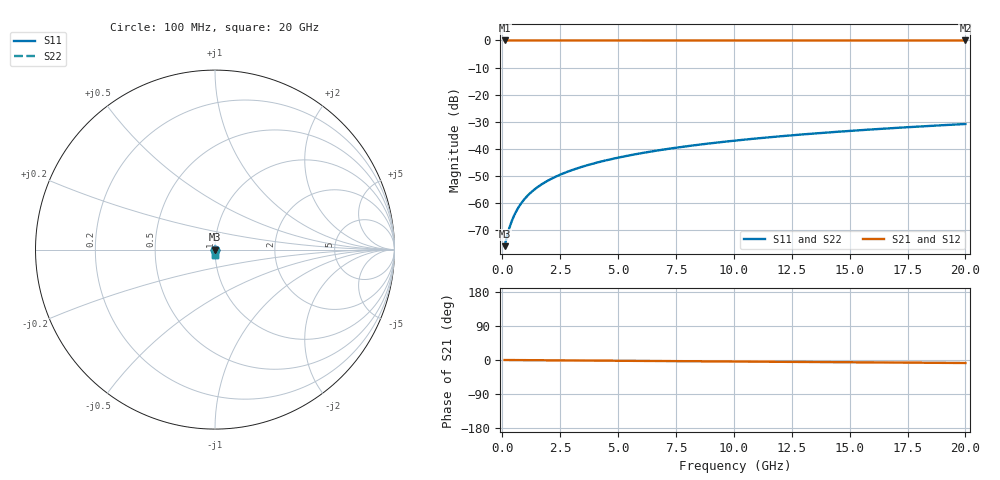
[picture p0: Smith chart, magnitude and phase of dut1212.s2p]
! Touchstone file exported from HFSS 2026.1.0
!  File:  C:/ffzhzh/LocalFiles/Ansys_Project_Files/temp_train_TSV_1212_1783192870_55132.aedt
!  Generated:  03:22:31 AM Jul  5, 2026
!  Design:  TSV
!  Project:  temp_train_TSV_1212_1783192870_55132
! Variables:
!  h_bsmrdl = 2um
!  h_ox = 20um
!  h_rdl = 5um
!  h_sub = 80.72um
!  h_tmrdl = 5um
!  h_tsv = 80.72um
!  h_via = 3um
!  l_bsmrdl = 300um
!  l_sub = 420.62um
!  l_tmrdl = 200um
!  m_sub = 200um
!  pitch = 34.11um
!  r_tsv = 10.31um
!  s_tmrdl = 10um
!  w_bsmrdl = 18um
!  w_sub = 500um
!  w_tmrdl = 12um
!  x_tsv_center1 = 206um
!  x_tsv_center2 = 524um
!  x_tsv_center3 = 736um
!  x_tsv_center4 = 1054um
!  x_tsv_center5 = 1266um
!  x_tsv_center6 = 1584um
# GHz S MA R 50.000000
! Terminal data exported
! Port[1] = TSV1_1_T1
! Port[2] = TSV1_1_T2
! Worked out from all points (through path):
!   200 points, 100 MHz to 20 GHz, reference 50 ohm
!   highest |S21| = 0.00 dB at 100 MHz (marker M1); lowest = 0.0 dB at 20 GHz (marker M2)
!   group delay of S21, straight-line fit = 1.1 ps
!   lowest |S11| = -75.9 dB at 100 MHz (marker M3), VSWR 1.00, Z = 50 - j0.0096 ohm
!   |S11| at or under -10 dB: start of sweep to end of sweep
!   |S22| runs from -75.9 to -30.8 dB; largest |S21 - S12| = 3.5e-15
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0.1  0.00016 -36.8  0.9999 -0.0  0.9999 -0.0  0.00016 -36.8
! Gamma 0 0 0 0
! Port Impedance 50 0 50 0
0.2  0.0002417 -54.0  0.9999 -0.1  0.9999 -0.1  0.0002417 -54.0
0.3  0.0003425 -61.6  0.9998 -0.1  0.9998 -0.1  0.0003425 -61.6
0.4  0.0004547 -65.6  0.9998 -0.2  0.9998 -0.2  0.0004547 -65.6
0.5  0.0005752 -68.2  0.9998 -0.2  0.9998 -0.2  0.0005752 -68.2
0.6  0.0007018 -70.1  0.9998 -0.2  0.9998 -0.2  0.0007018 -70.1
0.8  0.0009672 -72.9  0.9997 -0.3  0.9997 -0.3  0.0009672 -72.9
1.1  0.00138 -76.0  0.9997 -0.4  0.9997 -0.4  0.00138 -76.0
1.3  0.001658 -77.5  0.9996 -0.5  0.9996 -0.5  0.001658 -77.5
1.5  0.001937 -78.8  0.9996 -0.6  0.9996 -0.6  0.001937 -78.8
1.8  0.002357 -80.3  0.9996 -0.7  0.9996 -0.7  0.002357 -80.3
2.1  0.002776 -81.4  0.9995 -0.8  0.9995 -0.8  0.002776 -81.4
2.7  0.003617 -83.1  0.9995 -1.1  0.9995 -1.1  0.003617 -83.1
3.5  0.004743 -84.5  0.9994 -1.4  0.9994 -1.4  0.004743 -84.5
4.2  0.005736 -85.5  0.9994 -1.7  0.9994 -1.7  0.005736 -85.5
5  0.006878 -86.3  0.9993 -2.0  0.9993 -2.0  0.006878 -86.3
6.8  0.009471 -87.9  0.9992 -2.7  0.9992 -2.7  0.009471 -87.9
8.3  0.01165 -88.9  0.999 -3.3  0.999 -3.3  0.01165 -88.9
10.1  0.01427 -90.1  0.9989 -4.0  0.9989 -4.0  0.01427 -90.1
13.4  0.01908 -92.0  0.9987 -5.3  0.9987 -5.3  0.01908 -92.0
16.7  0.02391 -93.6  0.9985 -6.6  0.9985 -6.6  0.02391 -93.6
20  0.02874 -95.2  0.9982 -7.9  0.9982 -7.9  0.02874 -95.2
